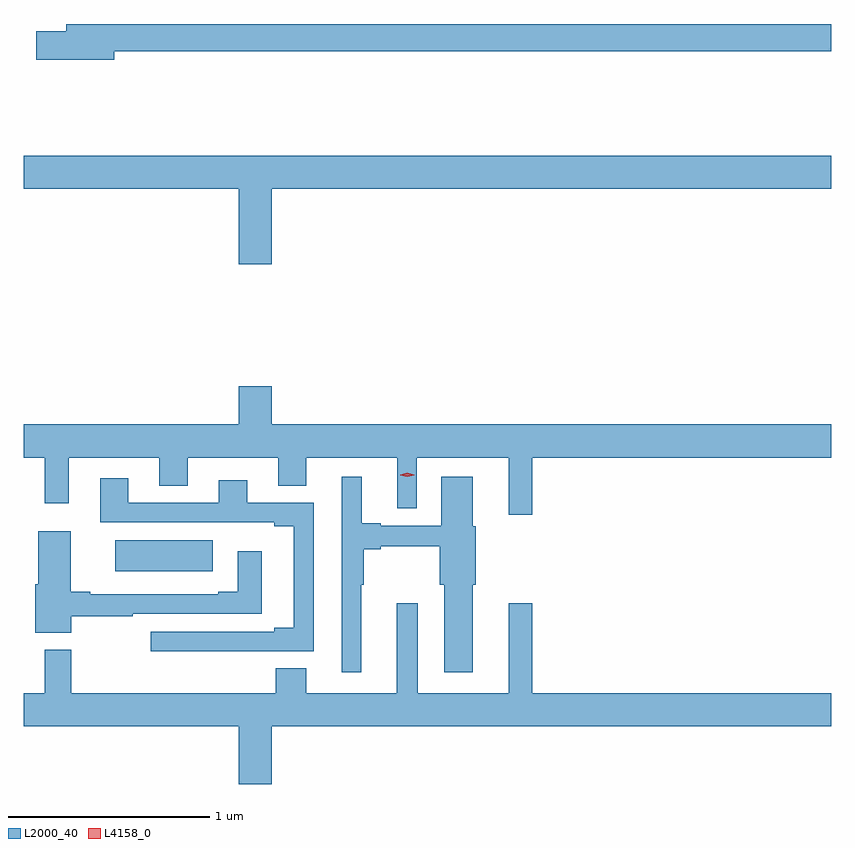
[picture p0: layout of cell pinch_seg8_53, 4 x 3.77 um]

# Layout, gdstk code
import gdstk
lib = gdstk.Library(unit=1e-6, precision=1e-09)
def R(c, l, rs):  # rectangles x0, y0, x1, y1
    for r in rs: c.add(gdstk.rectangle(r[:2], r[2:], *l))
def P(c, l, *ps):  # polygons
    for p in ps: c.add(gdstk.Polygon(p, *l))
L2000_40 = (2000, 40)
L4158_0 = (4158, 0)

pinch_seg8_53 = lib.new_cell('pinch_seg8_53')
R(pinch_seg8_53, L2000_40, [(871.689,1143.908,872.17,1144.063)])
P(pinch_seg8_53, L2000_40, [(871.684,1146.484),(875.235,1146.484),(875.235,1146.62),(871.445,1146.62),(871.445,1146.584),(871.296,1146.584),(871.296,1146.442),(871.684,1146.442)],
  [(872.464,1145.804),(875.235,1145.804),(875.235,1145.968),(871.235,1145.968),(871.235,1145.804),(872.3,1145.804),(872.3,1145.43),(872.464,1145.43)],
  [(873.755,1144.472),(875.235,1144.472),(875.235,1144.636),(872.464,1144.636),(872.464,1144.825),(872.3,1144.825),(872.3,1144.636),(871.235,1144.636),(871.235,1144.472),(871.338,1144.472),(871.338,1144.245),(871.459,1144.245),(871.459,1144.472),(871.907,1144.472),(871.907,1144.333),(872.047,1144.333),(872.047,1144.472),(872.495,1144.472),(872.495,1144.333),(872.635,1144.333),(872.635,1144.472),(873.086,1144.472),(873.086,1144.221),(873.182,1144.221),(873.182,1144.472),(873.638,1144.472),(873.638,1144.188),(873.755,1144.188)],
  [(872.908,1143.841),(872.92,1143.841),(872.92,1144.018),(873.004,1144.018),(873.004,1144.033),(873.295,1144.033),(873.295,1143.842),(873.317,1143.842),(873.317,1143.408),(873.46,1143.408),(873.46,1143.842),(873.473,1143.842),(873.473,1144.131),(873.46,1144.131),(873.46,1144.378),(873.302,1144.378),(873.302,1144.134),(873.004,1144.134),(873.004,1144.147),(872.909,1144.147),(872.909,1144.378),(872.81,1144.378),(872.81,1143.408),(872.908,1143.408)],
  [(872.399,1143.513),(872.671,1143.513),(872.671,1144.248),(872.341,1144.248),(872.341,1144.36),(872.201,1144.36),(872.201,1144.248),(871.753,1144.248),(871.753,1144.369),(871.613,1144.369),(871.613,1144.152),(872.205,1144.152),(872.205,1144.151),(872.477,1144.151),(872.477,1144.132),(872.573,1144.132),(872.573,1143.629),(872.477,1143.629),(872.477,1143.609),(871.863,1143.609),(871.863,1143.512),(872.399,1143.512)],
  [(871.47,1143.687),(871.775,1143.687),(871.775,1143.699),(872.413,1143.699),(872.413,1144.009),(872.294,1144.009),(872.294,1143.808),(872.198,1143.808),(872.198,1143.795),(871.564,1143.795),(871.564,1143.808),(871.468,1143.808),(871.468,1144.108),(871.307,1144.108),(871.307,1143.845),(871.292,1143.845),(871.292,1143.604),(871.47,1143.604)],
  [(872.464,1143.14),(875.235,1143.14),(875.235,1143.304),(873.755,1143.304),(873.755,1143.751),(873.638,1143.751),(873.638,1143.304),(873.187,1143.304),(873.187,1143.751),(873.083,1143.751),(873.083,1143.304),(872.635,1143.304),(872.635,1143.428),(872.483,1143.428),(872.483,1143.304),(871.47,1143.304),(871.47,1143.519),(871.34,1143.519),(871.34,1143.304),(871.235,1143.304),(871.235,1143.14),(872.3,1143.14),(872.3,1142.855),(872.464,1142.855)])
P(pinch_seg8_53, L4158_0, [(873.134,1144.376),(873.099,1144.385),(873.099,1144.386),(873.099,1144.386),(873.134,1144.396),(873.17,1144.386),(873.17,1144.386),(873.17,1144.385)])

lib.write_gds('pinch_seg8_53.gds')
